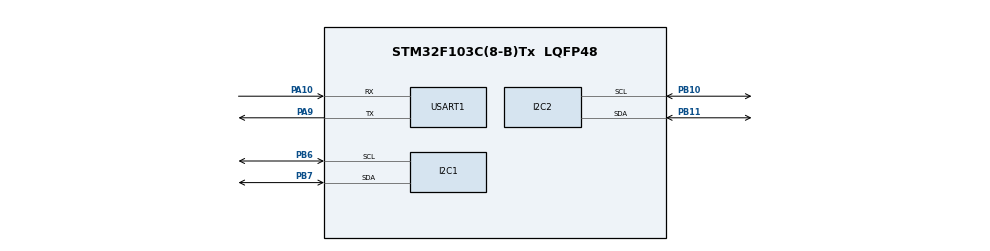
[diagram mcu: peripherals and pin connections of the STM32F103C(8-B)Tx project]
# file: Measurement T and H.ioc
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Mcu.Family=STM32F1
Mcu.Name=STM32F103C(8-B)Tx
Mcu.Package=LQFP48
NVIC.I2C1_ER_IRQn=true\:0\:0\:false\:false\:true\:true\:true\:true
NVIC.I2C1_EV_IRQn=true\:0\:0\:false\:false\:true\:true\:true\:true
NVIC.I2C2_ER_IRQn=true\:0\:0\:false\:false\:true\:true\:true\:true
NVIC.I2C2_EV_IRQn=true\:0\:0\:false\:false\:true\:true\:true\:true
NVIC.PriorityGroup=NVIC_PRIORITYGROUP_4
NVIC.USART1_IRQn=true\:0\:0\:false\:false\:true\:true\:true\:true
PA10.Mode=Multiprocessor_communication
PA10.Signal=USART1_RX
PA13.Mode=Serial_Wire
PA13.Signal=SYS_JTMS-SWDIO
PA14.Mode=Serial_Wire
PA14.Signal=SYS_JTCK-SWCLK
PA9.Mode=Multiprocessor_communication
PA9.Signal=USART1_TX
PB10.Mode=I2C
PB10.Signal=I2C2_SCL
PB11.Mode=I2C
PB11.Signal=I2C2_SDA
PB6.Mode=I2C
PB6.Signal=I2C1_SCL
PB7.Mode=I2C
PB7.Signal=I2C1_SDA
PD0-OSC_IN.Mode=HSE-External-Oscillator
PD0-OSC_IN.Signal=RCC_OSC_IN
PD1-OSC_OUT.Mode=HSE-External-Oscillator
PD1-OSC_OUT.Signal=RCC_OSC_OUT
ProjectManager.HeapSize=0x200
ProjectManager.StackSize=0x400
ProjectManager.TargetToolchain=STM32CubeIDE
RCC.APB1Freq_Value=8000000
RCC.APB2Freq_Value=8000000
USART1.VirtualMode=VM_ASYNC
board=custom

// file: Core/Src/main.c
/* USER CODE BEGIN Header */
/**
  ******************************************************************************
  * @file           : main.c
  * @brief          : Main program body
  ******************************************************************************
  * @attention
  *
  * Copyright (c) 2025 STMicroelectronics.
  * All rights reserved.
  *
  * This software is licensed under terms that can be found in the LICENSE file
  * in the root directory of this software component.
  * If no LICENSE file comes with this software, it is provided AS-IS.
  *
  ******************************************************************************
  */
/* USER CODE END Header */
#include "main.h"

/* USER CODE BEGIN Includes */
#include "string.h"
#include <stdio.h>
#include "i2c_lcd.h"
#include "aht10.h"
/* USER CODE END Includes */

I2C_HandleTypeDef hi2c1;
I2C_HandleTypeDef hi2c2;

UART_HandleTypeDef huart1;

/* USER CODE BEGIN PV */
AHT10_HandleTypeDef aht10;
I2C_LCD_HandleTypeDef lcd;

char buffer[32];
uint32_t temp_raw = 0;
uint32_t hum_raw = 0;
float temperature, humidity;

/* USER CODE END PV */

void SystemClock_Config(void);
static void MX_GPIO_Init(void);
static void MX_I2C1_Init(void);
static void MX_I2C2_Init(void);
static void MX_USART1_UART_Init(void);

int main(void)
{

  /* MCU Configuration--------------------------------------------------------*/

  /* Reset of all peripherals, Initializes the Flash interface and the Systick. */
  HAL_Init();

  /* Configure the system clock */
  SystemClock_Config();

  /* Initialize all configured peripherals */
  MX_GPIO_Init();
  MX_I2C1_Init();
  MX_I2C2_Init();
  MX_USART1_UART_Init();
  /* USER CODE BEGIN 2 */
  //Init LCD
  lcd.hi2c = &hi2c1;
  lcd.address = 0x4E;
  lcd_init(&lcd);
  lcd_clear(&lcd);

  //Init AHT10
  aht10.hi2c = &hi2c2;
  aht10.address = 0x38<<1; //AHT10 default address << 1 = 0x38 << 1 = 0x70
  AHT10_Init(&aht10);
  HAL_Delay(50);

  /* USER CODE END 2 */

  /* Infinite loop */
  /* USER CODE BEGIN WHILE */
  while (1)
  {
	  if (AHT10_ReadRaw(&aht10, &hum_raw, &temp_raw)) {
	              temperature = AHT10_ReadTemperature(temp_raw);
	              humidity = AHT10_ReadHumidity(hum_raw);

	              int temp_int = (int)temperature;
	              int temp_frac = (int)((temperature - temp_int) * 10);

	              int hum_int = (int)humidity;
	              int hum_frac = (int)((humidity - hum_int) * 10);

	              // In nhiệt độ ra UART
	              sprintf(buffer, "Temperature: %d.%d C\r\n", temp_int,temp_frac);
	              HAL_UART_Transmit(&huart1, (uint8_t*)buffer, strlen(buffer), HAL_MAX_DELAY);
	              //In độ ẩm ra UART
	              sprintf(buffer, "Humidity: %d.%d C\r\n", hum_int,hum_frac);
	              HAL_UART_Transmit(&huart1, (uint8_t*)buffer, strlen(buffer), HAL_MAX_DELAY);

	              sprintf(buffer, "Temp: %d.%d C", temp_int, temp_frac);
	              lcd_gotoxy(&lcd, 0, 0);
	              lcd_puts(&lcd, buffer);

	              sprintf(buffer, "Hum:  %d.%d %%", hum_int, hum_frac);
	              lcd_gotoxy(&lcd, 0, 1);
	              lcd_puts(&lcd, buffer);
	          } else {
	        	  lcd_gotoxy(&lcd,0,0);
	              HAL_UART_Transmit(&huart1, (uint8_t*)"AHT10 Error\r\n", 13, HAL_MAX_DELAY);
	          }

	          HAL_Delay(1000); // Đọc mỗi giây

    /* USER CODE END WHILE */

  }
}

void SystemClock_Config(void)
{
  RCC_OscInitTypeDef RCC_OscInitStruct = {0};
  RCC_ClkInitTypeDef RCC_ClkInitStruct = {0};

  /** Initializes the RCC Oscillators according to the specified parameters
  * in the RCC_OscInitTypeDef structure.
  */
  RCC_OscInitStruct.OscillatorType = RCC_OSCILLATORTYPE_HSI;
  RCC_OscInitStruct.HSIState = RCC_HSI_ON;
  RCC_OscInitStruct.HSICalibrationValue = RCC_HSICALIBRATION_DEFAULT;
  RCC_OscInitStruct.PLL.PLLState = RCC_PLL_NONE;
  if (HAL_RCC_OscConfig(&RCC_OscInitStruct) != HAL_OK)
  {
    Error_Handler();
  }

  /** Initializes the CPU, AHB and APB buses clocks
  */
  RCC_ClkInitStruct.ClockType = RCC_CLOCKTYPE_HCLK|RCC_CLOCKTYPE_SYSCLK
                              |RCC_CLOCKTYPE_PCLK1|RCC_CLOCKTYPE_PCLK2;
  RCC_ClkInitStruct.SYSCLKSource = RCC_SYSCLKSOURCE_HSI;
  RCC_ClkInitStruct.AHBCLKDivider = RCC_SYSCLK_DIV1;
  RCC_ClkInitStruct.APB1CLKDivider = RCC_HCLK_DIV1;
  RCC_ClkInitStruct.APB2CLKDivider = RCC_HCLK_DIV1;

  if (HAL_RCC_ClockConfig(&RCC_ClkInitStruct, FLASH_LATENCY_0) != HAL_OK)
  {
    Error_Handler();
  }
}

static void MX_I2C1_Init(void)
{

  hi2c1.Instance = I2C1;
  hi2c1.Init.ClockSpeed = 100000;
  hi2c1.Init.DutyCycle = I2C_DUTYCYCLE_2;
  hi2c1.Init.OwnAddress1 = 0;
  hi2c1.Init.AddressingMode = I2C_ADDRESSINGMODE_7BIT;
  hi2c1.Init.DualAddressMode = I2C_DUALADDRESS_DISABLE;
  hi2c1.Init.OwnAddress2 = 0;
  hi2c1.Init.GeneralCallMode = I2C_GENERALCALL_DISABLE;
  hi2c1.Init.NoStretchMode = I2C_NOSTRETCH_DISABLE;
  if (HAL_I2C_Init(&hi2c1) != HAL_OK)
  {
    Error_Handler();
  }

}

static void MX_I2C2_Init(void)
{

  hi2c2.Instance = I2C2;
  hi2c2.Init.ClockSpeed = 100000;
  hi2c2.Init.DutyCycle = I2C_DUTYCYCLE_2;
  hi2c2.Init.OwnAddress1 = 0;
  hi2c2.Init.AddressingMode = I2C_ADDRESSINGMODE_7BIT;
  hi2c2.Init.DualAddressMode = I2C_DUALADDRESS_DISABLE;
  hi2c2.Init.OwnAddress2 = 0;
  hi2c2.Init.GeneralCallMode = I2C_GENERALCALL_DISABLE;
  hi2c2.Init.NoStretchMode = I2C_NOSTRETCH_DISABLE;
  if (HAL_I2C_Init(&hi2c2) != HAL_OK)
  {
    Error_Handler();
  }

}

static void MX_USART1_UART_Init(void)
{

  huart1.Instance = USART1;
  huart1.Init.BaudRate = 115200;
  huart1.Init.WordLength = UART_WORDLENGTH_8B;
  huart1.Init.StopBits = UART_STOPBITS_1;
  huart1.Init.Parity = UART_PARITY_NONE;
  huart1.Init.Mode = UART_MODE_TX_RX;
  huart1.Init.HwFlowCtl = UART_HWCONTROL_NONE;
  huart1.Init.OverSampling = UART_OVERSAMPLING_16;
  if (HAL_MultiProcessor_Init(&huart1, 0, UART_WAKEUPMETHOD_IDLELINE) != HAL_OK)
  {
    Error_Handler();
  }

}

static void MX_GPIO_Init(void)
{

  /* GPIO Ports Clock Enable */
  __HAL_RCC_GPIOD_CLK_ENABLE();
  __HAL_RCC_GPIOB_CLK_ENABLE();
  __HAL_RCC_GPIOA_CLK_ENABLE();

}

void Error_Handler(void)
{
  __disable_irq();
  while (1)
  {
  }
}
